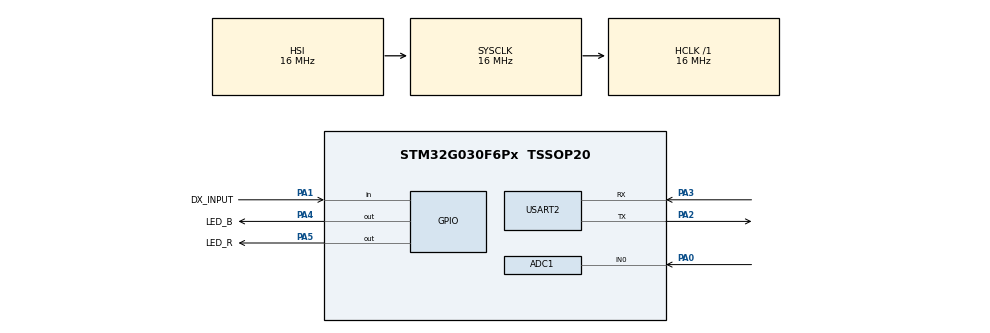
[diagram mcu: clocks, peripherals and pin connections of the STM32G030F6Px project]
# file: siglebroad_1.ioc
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ADC1.Channel-0\#ChannelRegularConversion=ADC_CHANNEL_0
ADC1.NbrOfConversionFlag=1
ADC1.Rank-0\#ChannelRegularConversion=1
ADC1.SamplingTime-0\#ChannelRegularConversion=ADC_SAMPLINGTIME_COMMON_1
ADC1.SamplingTimeCommon1=ADC_SAMPLETIME_19CYCLES_5
ADC1.SelectedChannel=ADC_CHANNEL_0
ADC1.master=1
Mcu.Family=STM32G0
Mcu.Name=STM32G030F6Px
Mcu.Package=TSSOP20
PA0.Mode=IN0
PA0.Signal=ADC1_IN0
PA1.GPIO_Label=DX_INPUT
PA1.Signal=GPIO_Input
PA13.Mode=Serial_Wire
PA13.Signal=SYS_SWDIO
PA14-BOOT0.Mode=Serial_Wire
PA14-BOOT0.Signal=SYS_SWCLK
PA14-BOOT0__PA15.StandardMode=true
PA2.Mode=Asynchronous
PA2.Signal=USART2_TX
PA3.Mode=Asynchronous
PA3.Signal=USART2_RX
PA4.GPIO_Label=LED_B
PA4.Signal=GPIO_Output
PA5.GPIO_Label=LED_R
PA5.Signal=GPIO_Output
PB0__PB1__PB2__PA8.StandardMode=true
PB3__PB4__PB5__PB6.StandardMode=true
PB7__PB8.StandardMode=true
PC14-OSC32_IN\ (PC14)__PB9.StandardMode=true
ProjectManager.HeapSize=0x200
ProjectManager.StackSize=0x400
ProjectManager.TargetToolchain=CMake
RCC.AHBFreq_Value=16000000
RCC.CortexFreq_Value=16000000
RCC.EXTERNAL_CLOCK_VALUE=12288000
RCC.HCLKFreq_Value=16000000
RCC.HSE_VALUE=8000000
RCC.HSI_VALUE=16000000
RCC.LSE_VALUE=32768
RCC.SYSCLKFreq_VALUE=16000000
RCC.VCOOutputFreq_Value=128000000
USART2.VirtualMode-Asynchronous=VM_ASYNC
board=custom

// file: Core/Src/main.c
/* USER CODE BEGIN Header */
/**
  ******************************************************************************
  * @file           : main.c
  * @brief          : Main program body
  ******************************************************************************
  * @attention
  *
  * Copyright (c) 2026 STMicroelectronics.
  * All rights reserved.
  *
  * This software is licensed under terms that can be found in the LICENSE file
  * in the root directory of this software component.
  * If no LICENSE file comes with this software, it is provided AS-IS.
  *
  ******************************************************************************
  */
/* USER CODE END Header */
#include "main.h"
#include "adc.h"
#include "usart.h"
#include "gpio.h"

/* USER CODE BEGIN Includes */
#include <stdbool.h>

/* USER CODE END Includes */

/* USER CODE BEGIN PTD */
typedef struct
{
  uint16_t adc_raw;
  uint16_t baseline;
  uint16_t tick_ms;
  uint8_t dx_level;
  uint8_t hit_event;
} ArmorDebugSample_t;

/* USER CODE END PTD */

/* USER CODE BEGIN PD */
#define ARMOR_ID                  0U
#define ARMOR_DX_ACTIVE_HIGH      1U
#define ARMOR_HEARTBEAT_PERIOD_MS 50U
#define ARMOR_BASELINE_TIME_MS    500U
#define ARMOR_BASELINE_SAMPLES    64U
#define ARMOR_AX_THRESHOLD        250U
#define ARMOR_HIT_COOLDOWN_MS     100U
#define ARMOR_HIT_REPEAT_COUNT    3U
#define ARMOR_HIT_REPEAT_GAP_MS   5U
#define ARMOR_PACKET_SIZE         8U
#define ARMOR_DEBUG_SAMPLE_COUNT  256U

/* USER CODE END PD */

/* USER CODE BEGIN PV */
volatile uint32_t armor_run_count = 0U;
volatile uint32_t armor_adc_raw = 0U;
volatile uint32_t armor_dx_level = 0U;
volatile uint32_t armor_baseline = 0U;
volatile uint32_t armor_last_event = 0U;
volatile uint32_t armor_adc_error_count = 0U;
volatile uint32_t armor_tx_error_count = 0U;
volatile ArmorDebugSample_t armor_debug_samples[ARMOR_DEBUG_SAMPLE_COUNT];
volatile uint32_t armor_debug_write_index;
volatile uint32_t armor_debug_sample_count;

static uint8_t armor_seq;
static uint16_t armor_baseline_samples[ARMOR_BASELINE_SAMPLES];
static uint32_t armor_baseline_sum;
static uint32_t armor_baseline_count;
static uint32_t armor_baseline_index;
static uint32_t armor_baseline_start;
static uint32_t armor_last_hit_tick;
static uint32_t armor_last_heartbeat_tick;
static uint32_t armor_last_repeat_tick;
static uint8_t armor_repeat_remaining;
static uint8_t armor_repeat_event;
static bool armor_dx_was_active;
static bool armor_ax_was_high;

/* USER CODE END PV */

void SystemClock_Config(void);
/* USER CODE BEGIN PFP */
static uint32_t Armor_ReadAdcRaw(void);
static void Armor_SendPacket(uint8_t event);
static void Armor_UpdateLed(bool hit);
static void Armor_DebugRecord(uint32_t now, uint8_t hit_event);

/* USER CODE END PFP */

int main(void)
{

  /* MCU Configuration--------------------------------------------------------*/

  /* Reset of all peripherals, Initializes the Flash interface and the Systick. */
  HAL_Init();

  /* Configure the system clock */
  SystemClock_Config();

  /* Initialize all configured peripherals */
  MX_GPIO_Init();
  MX_ADC1_Init();
  MX_USART2_UART_Init();
  /* USER CODE BEGIN 2 */
  if (HAL_ADCEx_Calibration_Start(&hadc1) != HAL_OK)
  {
    armor_adc_error_count++;
  }
  armor_baseline_start = HAL_GetTick();
  armor_last_heartbeat_tick = armor_baseline_start;

  /* USER CODE END 2 */

  /* Infinite loop */
  while (1)
  {

    /* USER CODE BEGIN 3 */
    uint32_t now = HAL_GetTick();
    uint32_t dx_level;
    bool dx_active;
    bool ax_high;
    uint8_t hit_event = 0U;

    armor_run_count++;
    armor_adc_raw = Armor_ReadAdcRaw();
    dx_level = (HAL_GPIO_ReadPin(DX_INPUT_GPIO_Port, DX_INPUT_Pin) == GPIO_PIN_SET) ? 1U : 0U;
    armor_dx_level = dx_level;
    dx_active = (dx_level == ARMOR_DX_ACTIVE_HIGH);

    if ((uint32_t)(now - armor_baseline_start) < ARMOR_BASELINE_TIME_MS)
    {
      if (armor_baseline_count < ARMOR_BASELINE_SAMPLES)
      {
        armor_baseline_samples[armor_baseline_index] = (uint16_t)armor_adc_raw;
        armor_baseline_sum += armor_adc_raw;
        armor_baseline_count++;
      }
      else
      {
        armor_baseline_sum -= armor_baseline_samples[armor_baseline_index];
        armor_baseline_samples[armor_baseline_index] = (uint16_t)armor_adc_raw;
        armor_baseline_sum += armor_adc_raw;
      }
      armor_baseline_index = (armor_baseline_index + 1U) % ARMOR_BASELINE_SAMPLES;
      armor_baseline = armor_baseline_sum / armor_baseline_count;
      armor_dx_was_active = dx_active;
      armor_ax_was_high = false;
    }
    else
    {
      uint32_t threshold = armor_baseline + ARMOR_AX_THRESHOLD;
      ax_high = (armor_adc_raw > threshold);
      if (armor_repeat_remaining != 0U &&
          (uint32_t)(now - armor_last_repeat_tick) >= ARMOR_HIT_REPEAT_GAP_MS)
      {
        Armor_SendPacket(armor_repeat_event);
        armor_last_repeat_tick = now;
        armor_repeat_remaining--;
      }

      if ((uint32_t)(now - armor_last_hit_tick) >= ARMOR_HIT_COOLDOWN_MS &&
          ((dx_active && !armor_dx_was_active) || (ax_high && !armor_ax_was_high)))
      {
        uint8_t event = (dx_active ? 1U : 0U) | (ax_high ? 2U : 0U);
        hit_event = event;
        armor_last_hit_tick = now;
        armor_last_event = event;
        armor_repeat_event = event;
        Armor_SendPacket(event);
        armor_repeat_remaining = ARMOR_HIT_REPEAT_COUNT - 1U;
        armor_last_repeat_tick = now;
        Armor_UpdateLed(true);
      }
      armor_dx_was_active = dx_active;
      armor_ax_was_high = ax_high;
    }

    if ((uint32_t)(now - armor_last_heartbeat_tick) >= ARMOR_HEARTBEAT_PERIOD_MS)
    {
      Armor_SendPacket(0U);
      armor_last_heartbeat_tick = now;
      Armor_UpdateLed(false);
    }

    Armor_DebugRecord(now, hit_event);

    HAL_Delay(1U);
  }
  /* USER CODE END 3 */
}

void SystemClock_Config(void)
{
  RCC_OscInitTypeDef RCC_OscInitStruct = {0};
  RCC_ClkInitTypeDef RCC_ClkInitStruct = {0};

  /** Configure the main internal regulator output voltage
  */
  HAL_PWREx_ControlVoltageScaling(PWR_REGULATOR_VOLTAGE_SCALE1);

  /** Initializes the RCC Oscillators according to the specified parameters
  * in the RCC_OscInitTypeDef structure.
  */
  RCC_OscInitStruct.OscillatorType = RCC_OSCILLATORTYPE_HSI;
  RCC_OscInitStruct.HSIState = RCC_HSI_ON;
  RCC_OscInitStruct.HSIDiv = RCC_HSI_DIV1;
  RCC_OscInitStruct.HSICalibrationValue = RCC_HSICALIBRATION_DEFAULT;
  RCC_OscInitStruct.PLL.PLLState = RCC_PLL_NONE;
  if (HAL_RCC_OscConfig(&RCC_OscInitStruct) != HAL_OK)
  {
    Error_Handler();
  }

  /** Initializes the CPU, AHB and APB buses clocks
  */
  RCC_ClkInitStruct.ClockType = RCC_CLOCKTYPE_HCLK|RCC_CLOCKTYPE_SYSCLK
                              |RCC_CLOCKTYPE_PCLK1;
  RCC_ClkInitStruct.SYSCLKSource = RCC_SYSCLKSOURCE_HSI;
  RCC_ClkInitStruct.AHBCLKDivider = RCC_SYSCLK_DIV1;
  RCC_ClkInitStruct.APB1CLKDivider = RCC_HCLK_DIV1;

  if (HAL_RCC_ClockConfig(&RCC_ClkInitStruct, FLASH_LATENCY_0) != HAL_OK)
  {
    Error_Handler();
  }
}

/* USER CODE BEGIN 4 */
static uint32_t Armor_ReadAdcRaw(void)
{
  uint32_t adc_raw = armor_adc_raw;

  if (HAL_ADC_Start(&hadc1) != HAL_OK)
  {
    armor_adc_error_count++;
    return adc_raw;
  }

  if (HAL_ADC_PollForConversion(&hadc1, 10U) == HAL_OK)
  {
    adc_raw = HAL_ADC_GetValue(&hadc1);
  }
  else
  {
    armor_adc_error_count++;
  }

  if (HAL_ADC_Stop(&hadc1) != HAL_OK)
  {
    armor_adc_error_count++;
  }

  return adc_raw;
}

static void Armor_SendPacket(uint8_t event)
{
  uint8_t packet[ARMOR_PACKET_SIZE];
  uint8_t sum = 0U;

  packet[0] = 0xA5U;
  packet[1] = ARMOR_ID;
  packet[2] = event;
  packet[3] = (uint8_t)armor_dx_level;
  packet[4] = (uint8_t)(armor_adc_raw & 0xFFU);
  packet[5] = (uint8_t)((armor_adc_raw >> 8) & 0xFFU);
  packet[6] = armor_seq++;
  for (uint32_t i = 0U; i < ARMOR_PACKET_SIZE - 1U; i++)
  {
    sum = (uint8_t)(sum + packet[i]);
  }
  packet[7] = sum;

  if (HAL_UART_Transmit(&huart2, packet, sizeof(packet), 10U) != HAL_OK)
  {
    armor_tx_error_count++;
  }
}

static void Armor_UpdateLed(bool hit)
{
  HAL_GPIO_WritePin(LED_R_GPIO_Port, LED_R_Pin, hit ? GPIO_PIN_SET : GPIO_PIN_RESET);
  HAL_GPIO_WritePin(LED_B_GPIO_Port, LED_B_Pin, hit ? GPIO_PIN_RESET : GPIO_PIN_SET);
}

static void Armor_DebugRecord(uint32_t now, uint8_t hit_event)
{
  uint32_t index = armor_debug_write_index;

  armor_debug_samples[index].adc_raw = (uint16_t)armor_adc_raw;
  armor_debug_samples[index].baseline = (uint16_t)armor_baseline;
  armor_debug_samples[index].tick_ms = (uint16_t)now;
  armor_debug_samples[index].dx_level = (uint8_t)armor_dx_level;
  armor_debug_samples[index].hit_event = hit_event;

  index++;
  if (index >= ARMOR_DEBUG_SAMPLE_COUNT)
  {
    index = 0U;
  }
  armor_debug_write_index = index;
  if (armor_debug_sample_count < ARMOR_DEBUG_SAMPLE_COUNT)
  {
    armor_debug_sample_count++;
  }
}

/* USER CODE END 4 */

void Error_Handler(void)
{
  __disable_irq();
  while (1)
  {
  }
}
